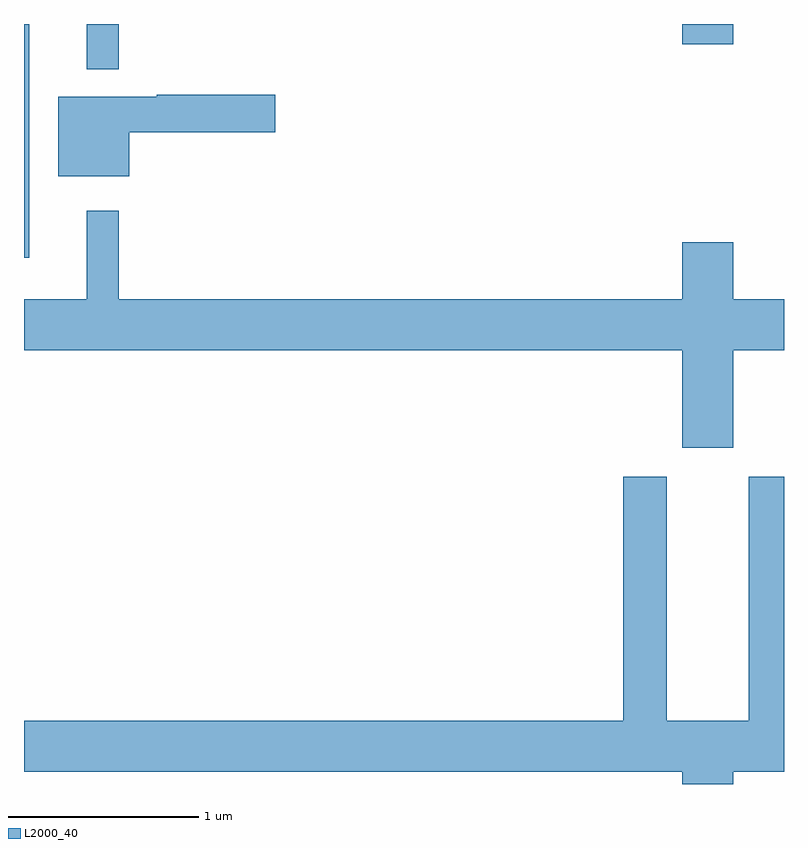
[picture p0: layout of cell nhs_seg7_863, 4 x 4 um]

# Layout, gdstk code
import gdstk
lib = gdstk.Library(unit=1e-6, precision=1e-09)
def R(c, l, rs):  # rectangles x0, y0, x1, y1
    for r in rs: c.add(gdstk.rectangle(r[:2], r[2:], *l))
def P(c, l, *ps):  # polygons
    for p in ps: c.add(gdstk.Polygon(p, *l))
L2000_40 = (2000, 40)

nhs_seg7_863 = lib.new_cell('nhs_seg7_863')
R(nhs_seg7_863, L2000_40, [(211.611,1717.023,211.639,1718.252), (211.941,1718.013,212.109,1718.252), (215.076,1718.146,215.344,1718.252)])
P(nhs_seg7_863, L2000_40, [(212.164,1717.681),(212.934,1717.681),(212.934,1717.879),(212.31,1717.879),(212.31,1717.869),(211.791,1717.869),(211.791,1717.451),(212.164,1717.451)],
  [(215.344,1716.536),(215.611,1716.536),(215.611,1716.804),(215.344,1716.804),(215.344,1717.104),(215.076,1717.104),(215.076,1716.804),(212.109,1716.804),(212.109,1717.268),(211.941,1717.268),(211.941,1716.804),(211.611,1716.804),(211.611,1716.536),(215.076,1716.536),(215.076,1716.021),(215.344,1716.021)],
  [(215.344,1714.316),(215.611,1714.316),(215.611,1715.869),(215.426,1715.869),(215.426,1714.584),(214.994,1714.584),(214.994,1715.869),(214.766,1715.869),(214.766,1714.584),(211.611,1714.584),(211.611,1714.316),(215.076,1714.316),(215.076,1714.252),(215.344,1714.252)])

lib.write_gds('nhs_seg7_863.gds')
